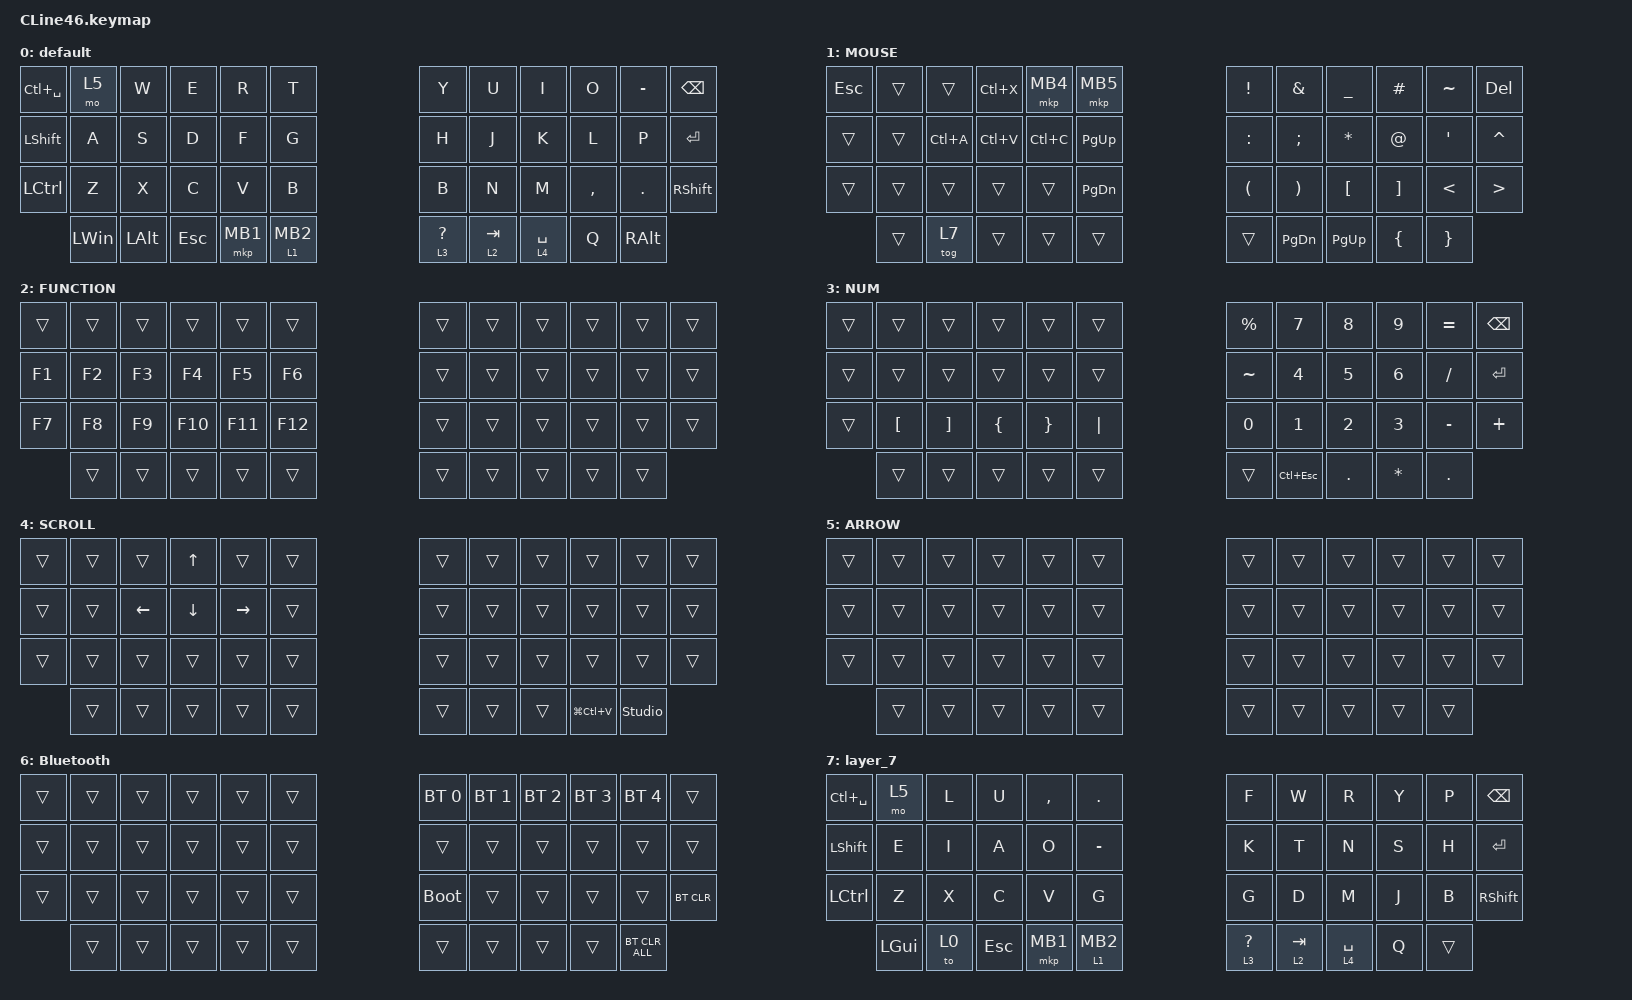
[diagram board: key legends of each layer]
/* SOA44 V2 -> CLine46 ZMK keymap port (draft; CI build required).
 * Based on SOA44 V2 source: ryo-nagaoka/zmk-config-soa44-v2, main.
 * CLine46 hardware, battery, pointing, and RGB configurations must remain
 * from takamaru-fpv/zmk_config_CLine46, branch zmk4.1対応.
 *
 * Original 44 positions: 0..35 (3 rows x12), 36..43 (thumb row x8).
 * New 46 positions:      0..35 (unchanged), 36..45 (thumb row x10).
 * Mapping of old bottom row into new bottom row:
 * old 36,37,38,39,40,41,42,43 -> new 36,37,39,40,41,42,43,45
 * New 38 = ESC on base, new 44 = DEL on base / studio_unlock on SCROLL.
 */

#include <input/processors.dtsi>
#include <dt-bindings/zmk/input_transform.h>
#include <zephyr/dt-bindings/input/input-event-codes.h>
#include <behaviors/runtime_macro.dtsi>
#include <behaviors.dtsi>
#include <dt-bindings/zmk/bt.h>
#include <dt-bindings/zmk/keys.h>
#include <dt-bindings/zmk/pointing.h>

&mt {
    flavor = "balanced";
    quick-tap-ms = <0>;
};

/ {
    combos {
        compatible = "zmk,combos";

        tab {
            bindings = <&kp TAB>;
            key-positions = <11 12>;
        };

        shift_tab {
            bindings = <&kp LS(TAB)>;
            key-positions = <12 13>;
        };

        muhennkann {
            bindings = <&to_layer_0 INT_MUHENKAN>;
            key-positions = <32 33>;
        };

        double_quotation {
            bindings = <&kp DOUBLE_QUOTES>;
            key-positions = <20 21>;
        };

        eq {
            bindings = <&kp EQUAL>;
            key-positions = <24 25>;
        };
    };

    macros {
        to_layer_0: to_layer_0 {
            compatible = "zmk,behavior-macro-one-param";
            #binding-cells = <1>;
            bindings = <&to 0 &macro_param_1to1 &kp MACRO_PLACEHOLDER>;
            label = "TO_LAYER_0";
        };

        to_eisu: to_eisu {
            compatible = "zmk,behavior-macro";
            #binding-cells = <0>;
            label = "TO_EISU";
            bindings = <&kp LC(SPACE)>;
        };

        to_kana: to_kana {
            compatible = "zmk,behavior-macro";
            #binding-cells = <0>;
            label = "TO_KANA";
            bindings = <&kp LANG1>;
        };
    };

    behaviors {
        scroll_hold: scroll_hold {
            compatible = "zmk,behavior-hold-tap";
            label = "SCROLL_HOLD";
            #binding-cells = <2>;
            flavor = "tap-preferred";
            tapping-term-ms = <200>;
            bindings = <&mo>, <&kp>;
        };

        rmclk: layer_mouse_right_click {
            compatible = "zmk,behavior-hold-tap";
            label = "LAYER_MOUSE_RIGHT_CLICK";
            #binding-cells = <2>;
            flavor = "tap-preferred";
            tapping-term-ms = <200>;
            bindings = <&mo>, <&mkp>;
        };

        zenhan_td: zenhan_tap_dance {
            compatible = "zmk,behavior-tap-dance";
            label = "ZENHAN_TAP_DANCE";
            #binding-cells = <0>;
            tapping-term-ms = <300>;
            bindings = <&kp LANG1>, <&kp LANG2>;
        };
    };

    keymap {
        compatible = "zmk,keymap";

        default {
            bindings = <
&kp LC(SPACE)   &mo 5         &kp W         &kp E       &kp R     &kp T                                      &kp Y        &kp U  &kp I  &kp O      &kp MINUS      &kp BACKSPACE
&kp LEFT_SHIFT  &kp A         &kp S         &kp D       &kp F     &kp G                                      &kp H        &kp J  &kp K  &kp L      &kp P          &kp ENTER
&kp LCTRL       &kp Z         &kp X         &kp C       &kp V     &kp B                                      &kp B        &kp N  &kp M  &kp COMMA  &kp DOT        &kp RIGHT_SHIFT
                &kp LEFT_WIN  &kp LEFT_ALT  &kp ESCAPE  &mkp MB1  &rmclk 1 MB2  &lt 3 QUESTION    &lt 2 TAB  &lt 4 SPACE                &kp Q      &kp RIGHT_ALT
            >;
        };

        MOUSE {
            bindings = <
&kp ESCAPE  &trans  &trans     &kp LC(X)  &mkp MB4   &mkp MB5                                &kp EXCLAMATION       &kp AMPERSAND          &kp UNDERSCORE    &kp HASH           &kp TILDE        &kp DELETE
&trans      &trans  &kp LC(A)  &kp LC(V)  &kp LC(C)  &kp PAGE_UP                             &kp COLON             &kp SEMICOLON          &kp ASTERISK      &kp AT_SIGN        &kp APOS         &kp CARET
&trans      &trans  &trans     &trans     &trans     &kp PAGE_DOWN                           &kp LEFT_PARENTHESIS  &kp RIGHT_PARENTHESIS  &kp LEFT_BRACKET  &kp RIGHT_BRACKET  &kp LESS_THAN    &kp GREATER_THAN
            &trans  &tog 7     &trans     &trans     &trans         &trans    &kp PAGE_DOWN  &kp PAGE_UP                                                    &kp LEFT_BRACE     &kp RIGHT_BRACE
            >;
        };

        FUNCTION {
            bindings = <
&trans  &trans  &trans  &trans   &trans   &trans                     &trans  &trans  &trans  &trans  &trans  &trans
&kp F1  &kp F2  &kp F3  &kp F4   &kp F5   &kp F6                     &trans  &trans  &trans  &trans  &trans  &trans
&kp F7  &kp F8  &kp F9  &kp F10  &kp F11  &kp F12                    &trans  &trans  &trans  &trans  &trans  &trans
        &trans  &trans  &trans   &trans   &trans   &trans    &trans  &trans                  &trans  &trans
            >;
        };

        NUM {
            bindings = <
&trans  &trans            &trans             &trans          &trans           &trans                           &kp PRCNT     &kp NUMBER_7  &kp NUMBER_8  &kp NUMBER_9  &kp EQUAL  &kp BACKSPACE
&trans  &trans            &trans             &trans          &trans           &trans                           &kp TILDE     &kp NUMBER_4  &kp NUMBER_5  &kp NUMBER_6  &kp SLASH  &kp ENTER
&trans  &kp LEFT_BRACKET  &kp RIGHT_BRACKET  &kp LEFT_BRACE  &kp RIGHT_BRACE  &kp PIPE                         &kp NUMBER_0  &kp NUMBER_1  &kp NUMBER_2  &kp NUMBER_3  &kp MINUS  &kp PLUS
        &trans            &trans             &trans          &trans           &trans    &trans    &kp LC(ESC)  &kp DOT                                   &kp ASTRK     &kp DOT
            >;
        };

        SCROLL {
            bindings = <
&trans  &trans  &trans          &kp UP_ARROW    &trans           &trans                    &trans  &trans  &trans  &trans         &trans          &trans
&trans  &trans  &kp LEFT_ARROW  &kp DOWN_ARROW  &kp RIGHT_ARROW  &trans                    &trans  &trans  &trans  &trans         &trans          &trans
&trans  &trans  &trans          &trans          &trans           &trans                    &trans  &trans  &trans  &trans         &trans          &trans
        &trans  &trans          &trans          &trans           &trans  &trans    &trans  &trans                  &kp LG(LC(V))  &studio_unlock
            >;
        };

        ARROW {
            bindings = <
&trans  &trans  &trans  &trans  &trans  &trans                    &trans  &trans  &trans  &trans  &trans  &trans
&trans  &trans  &trans  &trans  &trans  &trans                    &trans  &trans  &trans  &trans  &trans  &trans
&trans  &trans  &trans  &trans  &trans  &trans                    &trans  &trans  &trans  &trans  &trans  &trans
        &trans  &trans  &trans  &trans  &trans  &trans    &trans  &trans                  &trans  &trans
            >;
        };

        Bluetooth {
            bindings = <
&trans  &trans  &trans  &trans  &trans  &trans                    &bt BT_SEL 0  &bt BT_SEL 1  &bt BT_SEL 2  &bt BT_SEL 3  &bt BT_SEL 4    &trans
&trans  &trans  &trans  &trans  &trans  &trans                    &trans        &trans        &trans        &trans        &trans          &trans
&trans  &trans  &trans  &trans  &trans  &trans                    &bootloader   &trans        &trans        &trans        &trans          &bt BT_CLR
        &trans  &trans  &trans  &trans  &trans  &trans    &trans  &trans                                    &trans        &bt BT_CLR_ALL
            >;
        };

        layer_7 {
            bindings = <
&kp LC(SPACE)  &mo 5     &kp L  &kp U       &kp COMMA  &kp DOT                                    &kp F        &kp W  &kp R  &kp Y  &kp P   &kp BSPC
&kp LSHFT      &kp E     &kp I  &kp A       &kp O      &kp MINUS                                  &kp K        &kp T  &kp N  &kp S  &kp H   &kp ENTER
&kp LCTRL      &kp Z     &kp X  &kp C       &kp V      &kp G                                      &kp G        &kp D  &kp M  &kp J  &kp B   &kp RIGHT_SHIFT
               &kp LGUI  &to 0  &kp ESCAPE  &mkp MB1   &rmclk 1 MB2  &lt 3 QUESTION    &lt 2 TAB  &lt 4 SPACE                &kp Q  &trans
            >;
        };
    };
};
